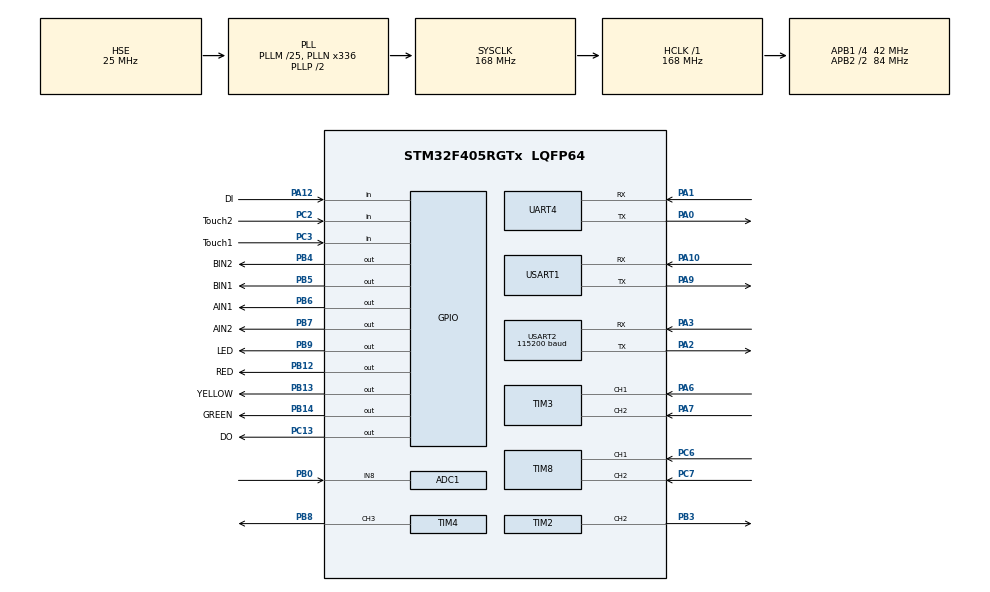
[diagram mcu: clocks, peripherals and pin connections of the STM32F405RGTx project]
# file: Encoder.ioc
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ADC1.Channel-0\#ChannelRegularConversion=ADC_CHANNEL_8
ADC1.ClockPrescaler=ADC_CLOCK_SYNC_PCLK_DIV4
ADC1.ContinuousConvMode=ENABLE
ADC1.DiscontinuousConvMode=DISABLE
ADC1.NbrOfConversionFlag=1
ADC1.Rank-0\#ChannelRegularConversion=1
ADC1.SamplingTime-0\#ChannelRegularConversion=ADC_SAMPLETIME_480CYCLES
ADC1.ScanConvMode=DISABLE
ADC1.master=1
ADC2.Channel-0\#ChannelRegularConversion=ADC_CHANNEL_8
ADC2.NbrOfConversionFlag=1
ADC2.Rank-0\#ChannelRegularConversion=1
ADC2.SamplingTime-0\#ChannelRegularConversion=ADC_SAMPLETIME_480CYCLES
Dma.Request0=USART2_RX
Dma.Request1=UART4_RX
Dma.UART4_RX.1.Direction=DMA_PERIPH_TO_MEMORY
Dma.UART4_RX.1.FIFOMode=DMA_FIFOMODE_DISABLE
Dma.UART4_RX.1.Instance=DMA1_Stream2
Dma.UART4_RX.1.MemDataAlignment=DMA_MDATAALIGN_BYTE
Dma.UART4_RX.1.MemInc=DMA_MINC_ENABLE
Dma.UART4_RX.1.Mode=DMA_CIRCULAR
Dma.UART4_RX.1.PeriphDataAlignment=DMA_PDATAALIGN_BYTE
Dma.UART4_RX.1.PeriphInc=DMA_PINC_DISABLE
Dma.UART4_RX.1.Priority=DMA_PRIORITY_HIGH
Dma.USART2_RX.0.Direction=DMA_PERIPH_TO_MEMORY
Dma.USART2_RX.0.FIFOMode=DMA_FIFOMODE_DISABLE
Dma.USART2_RX.0.Instance=DMA1_Stream5
Dma.USART2_RX.0.MemDataAlignment=DMA_MDATAALIGN_BYTE
Dma.USART2_RX.0.MemInc=DMA_MINC_ENABLE
Dma.USART2_RX.0.Mode=DMA_CIRCULAR
Dma.USART2_RX.0.PeriphDataAlignment=DMA_PDATAALIGN_BYTE
Dma.USART2_RX.0.PeriphInc=DMA_PINC_DISABLE
Dma.USART2_RX.0.Priority=DMA_PRIORITY_HIGH
Mcu.Family=STM32F4
Mcu.Name=STM32F405RGTx
Mcu.Package=LQFP64
NVIC.ADC_IRQn=true\:4\:0\:true\:false\:true\:true\:true
NVIC.DMA1_Stream2_IRQn=true\:0\:0\:false\:false\:true\:false\:true
NVIC.DMA1_Stream5_IRQn=true\:0\:0\:false\:false\:true\:false\:true
NVIC.PriorityGroup=NVIC_PRIORITYGROUP_4
NVIC.TIM1_UP_TIM10_IRQn=true\:5\:0\:true\:false\:true\:true\:true
NVIC.TIM8_UP_TIM13_IRQn=true\:0\:0\:false\:false\:true\:false\:true
NVIC.TimeBase=TIM8_UP_TIM13_IRQn
NVIC.TimeBaseIP=TIM13
NVIC.UART4_IRQn=true\:5\:0\:true\:false\:true\:true\:true
NVIC.USART1_IRQn=true\:6\:0\:true\:false\:true\:true\:true
NVIC.USART2_IRQn=true\:4\:0\:true\:false\:true\:true\:true
PA0-WKUP.Mode=Asynchronous
PA0-WKUP.Signal=UART4_TX
PA1.Mode=Asynchronous
PA1.Signal=UART4_RX
PA10.Mode=Asynchronous
PA10.Signal=USART1_RX
PA12.GPIO_Label=DI
PA12.GPIO_PuPd=GPIO_PULLDOWN
PA12.Signal=GPIO_Input
PA13.Mode=Serial_Wire
PA13.Signal=SYS_JTMS-SWDIO
PA14.Mode=Serial_Wire
PA14.Signal=SYS_JTCK-SWCLK
PA2.Mode=Asynchronous
PA2.Signal=USART2_TX
PA3.Mode=Asynchronous
PA3.Signal=USART2_RX
PA6.GPIO_PuPd=GPIO_PULLUP
PA6.GPIO_Speed=GPIO_SPEED_FREQ_VERY_HIGH
PA6.Signal=S_TIM3_CH1
PA7.GPIO_PuPd=GPIO_PULLUP
PA7.GPIO_Speed=GPIO_SPEED_FREQ_VERY_HIGH
PA7.Signal=S_TIM3_CH2
PA9.Mode=Asynchronous
PA9.Signal=USART1_TX
PB0.Signal=SharedAnalog_PB0
PB12.GPIO_Label=RED
PB12.GPIO_PuPd=GPIO_PULLDOWN
PB12.Signal=GPIO_Output
PB13.GPIO_Label=YELLOW
PB13.GPIO_PuPd=GPIO_PULLDOWN
PB13.Signal=GPIO_Output
PB14.GPIO_Label=GREEN
PB14.GPIO_PuPd=GPIO_PULLDOWN
PB14.Signal=GPIO_Output
PB3.Signal=S_TIM2_CH2
PB4.GPIO_Label=BIN2
PB4.GPIO_PuPd=GPIO_PULLDOWN
PB4.GPIO_Speed=GPIO_SPEED_FREQ_VERY_HIGH
PB4.Signal=GPIO_Output
PB5.GPIO_Label=BIN1
PB5.GPIO_PuPd=GPIO_PULLDOWN
PB5.GPIO_Speed=GPIO_SPEED_FREQ_VERY_HIGH
PB5.PinState=GPIO_PIN_SET
PB5.Signal=GPIO_Output
PB6.GPIO_Label=AIN1
PB6.GPIO_PuPd=GPIO_PULLDOWN
PB6.GPIO_Speed=GPIO_SPEED_FREQ_VERY_HIGH
PB6.PinState=GPIO_PIN_SET
PB6.Signal=GPIO_Output
PB7.GPIO_Label=AIN2
PB7.GPIO_PuPd=GPIO_PULLDOWN
PB7.GPIO_Speed=GPIO_SPEED_FREQ_VERY_HIGH
PB7.Signal=GPIO_Output
PB8.Signal=S_TIM4_CH3
PB9.GPIO_Label=LED
PB9.GPIO_ModeDefaultOutputPP=GPIO_MODE_OUTPUT_PP
PB9.GPIO_PuPd=GPIO_PULLDOWN
PB9.Signal=GPIO_Output
PC13-ANTI_TAMP.GPIO_Label=DO
PC13-ANTI_TAMP.Signal=GPIO_Output
PC2.GPIO_Label=Touch2
PC2.GPIO_PuPd=GPIO_PULLDOWN
PC2.Signal=GPIO_Input
PC3.GPIO_Label=Touch1
PC3.GPIO_PuPd=GPIO_PULLDOWN
PC3.Signal=GPIO_Input
PC6.GPIO_PuPd=GPIO_PULLUP
PC6.GPIO_Speed=GPIO_SPEED_FREQ_VERY_HIGH
PC6.Signal=S_TIM8_CH1
PC7.GPIO_PuPd=GPIO_PULLUP
PC7.GPIO_Speed=GPIO_SPEED_FREQ_VERY_HIGH
PC7.Signal=S_TIM8_CH2
PH0-OSC_IN.Mode=HSE-External-Oscillator
PH0-OSC_IN.Signal=RCC_OSC_IN
PH1-OSC_OUT.Mode=HSE-External-Oscillator
PH1-OSC_OUT.Signal=RCC_OSC_OUT
ProjectManager.HeapSize=0x200
ProjectManager.StackSize=0x400
ProjectManager.TargetToolchain=MDK-ARM V5.27
RCC.48MHZClocksFreq_Value=84000000
RCC.AHBFreq_Value=168000000
RCC.APB1CLKDivider=RCC_HCLK_DIV4
RCC.APB1Freq_Value=42000000
RCC.APB1TimFreq_Value=84000000
RCC.APB2CLKDivider=RCC_HCLK_DIV2
RCC.APB2Freq_Value=84000000
RCC.APB2TimFreq_Value=168000000
RCC.CortexFreq_Value=168000000
RCC.HCLKFreq_Value=168000000
RCC.HSE_VALUE=25000000
RCC.HSI_VALUE=16000000
RCC.LSE_VALUE=32768
RCC.PLLM=25
RCC.PLLN=336
RCC.PLLSourceVirtual=RCC_PLLSOURCE_HSE
RCC.SYSCLKFreq_VALUE=168000000
RCC.SYSCLKSource=RCC_SYSCLKSOURCE_PLLCLK
RCC.VCOOutputFreq_Value=336000000
SH.S_TIM2_CH2.0=TIM2_CH2,PWM Generation2 CH2
SH.S_TIM3_CH1.0=TIM3_CH1,Encoder_Interface
SH.S_TIM3_CH2.0=TIM3_CH2,Encoder_Interface
SH.S_TIM4_CH3.0=TIM4_CH3,PWM Generation3 CH3
SH.S_TIM8_CH1.0=TIM8_CH1,Encoder_Interface
SH.S_TIM8_CH2.0=TIM8_CH2,Encoder_Interface
SH.SharedAnalog_PB0.0=GPIO_Analog
SH.SharedAnalog_PB0.1=ADC1_IN8,IN8
SH.SharedAnalog_PB0.2=ADC2_IN8,IN8
TIM1.AutoReloadPreload=TIM_AUTORELOAD_PRELOAD_ENABLE
TIM1.Period=500-1
TIM1.Prescaler=8400-1
TIM2.AutoReloadPreload=TIM_AUTORELOAD_PRELOAD_ENABLE
TIM2.Channel-PWM\ Generation2\ CH2=TIM_CHANNEL_2
TIM2.Period=8399
TIM2.Prescaler=0
TIM3.EncoderMode=TIM_ENCODERMODE_TI12
TIM3.IC1Filter=6
TIM3.IC1Prescaler=TIM_ICPSC_DIV8
TIM3.IC2Filter=6
TIM3.IC2Prescaler=TIM_ICPSC_DIV8
TIM4.AutoReloadPreload=TIM_AUTORELOAD_PRELOAD_ENABLE
TIM4.Channel-PWM\ Generation3\ CH3=TIM_CHANNEL_3
TIM4.Period=8399
TIM4.Prescaler=0
TIM8.ClockDivision=TIM_CLOCKDIVISION_DIV1
TIM8.EncoderMode=TIM_ENCODERMODE_TI12
TIM8.IC1Filter=6
TIM8.IC1Prescaler=TIM_ICPSC_DIV8
TIM8.IC2Filter=6
TIM8.IC2Prescaler=TIM_ICPSC_DIV8
UART4.VirtualMode=Asynchronous
USART1.VirtualMode=VM_ASYNC
USART2.BaudRate=115200
USART2.Parity=PARITY_NONE
USART2.VirtualMode=VM_ASYNC
USART2.WordLength=WORDLENGTH_8B
VP_SYS_VS_tim13.Mode=TIM13
VP_TIM1_VS_ClockSourceINT.Mode=Internal
VP_TIM2_VS_ClockSourceINT.Mode=Internal
VP_TIM4_VS_ClockSourceINT.Mode=Internal
board=custom

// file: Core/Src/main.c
/* USER CODE BEGIN Header */
/**
  ******************************************************************************
  * @file           : main.c
  * @brief          : Main program body
  ******************************************************************************
  * @attention
  *
  * <h2><center>&copy; Copyright (c) 2021 STMicroelectronics.
  * All rights reserved.</center></h2>
  *
  * This software component is licensed by ST under BSD 3-Clause license,
  * the "License"; You may not use this file except in compliance with the
  * License. You may obtain a copy of the License at:
  *                        opensource.org/licenses/BSD-3-Clause
  *
  ******************************************************************************
  */
/* USER CODE END Header */
#include "main.h"
#include "adc.h"
#include "dma.h"
#include "tim.h"
#include "usart.h"
#include "gpio.h"

/* USER CODE BEGIN Includes */
#include "LED.h"
#include "packet.h"
#include "imu_data_decode.h"
/* USER CODE END Includes */

void SystemClock_Config(void);

int main(void)
{

  /* MCU Configuration--------------------------------------------------------*/

  /* Reset of all peripherals, Initializes the Flash interface and the Systick. */
  HAL_Init();

  /* Configure the system clock */
  SystemClock_Config();

  /* USER CODE BEGIN SysInit */
  HAL_Delay(2000);
  /* USER CODE END SysInit */

  /* Initialize all configured peripherals */
  MX_GPIO_Init();
  MX_DMA_Init();
  MX_TIM1_Init();
  MX_TIM3_Init();
  MX_TIM8_Init();
  MX_USART1_UART_Init();
  MX_TIM2_Init();
  MX_TIM4_Init();
  MX_ADC1_Init();
  MX_ADC2_Init();
  MX_USART2_UART_Init();
  MX_UART4_Init();
  /* USER CODE BEGIN 2 */
  HAL_TIM_Encoder_Start(&htim3,TIM_CHANNEL_ALL);
  HAL_TIM_Encoder_Start(&htim8,TIM_CHANNEL_ALL);
  user_UART_Init();-
  imu_data_decode_init();
  User_Balance_Init();
  HAL_TIM_Base_Start_IT(&htim1);
  HAL_ADC_Start_IT(&hadc1);
  HAL_TIM_PWM_Start(&htim2,TIM_CHANNEL_2);
  HAL_TIM_PWM_Start(&htim4,TIM_CHANNEL_3);
  /* USER CODE END 2 */

  /* Infinite loop */
  while (1)
  {

    /* USER CODE BEGIN 3 */

    HAL_GPIO_TogglePin(LED_GPIO_Port,LED_Pin);
    HAL_Delay(50);
  }
  /* USER CODE END 3 */
}

void SystemClock_Config(void)
{
  RCC_OscInitTypeDef RCC_OscInitStruct = {0};
  RCC_ClkInitTypeDef RCC_ClkInitStruct = {0};

  /** Configure the main internal regulator output voltage
  */
  __HAL_RCC_PWR_CLK_ENABLE();
  __HAL_PWR_VOLTAGESCALING_CONFIG(PWR_REGULATOR_VOLTAGE_SCALE1);
  /** Initializes the RCC Oscillators according to the specified parameters
  * in the RCC_OscInitTypeDef structure.
  */
  RCC_OscInitStruct.OscillatorType = RCC_OSCILLATORTYPE_HSE;
  RCC_OscInitStruct.HSEState = RCC_HSE_ON;
  RCC_OscInitStruct.PLL.PLLState = RCC_PLL_ON;
  RCC_OscInitStruct.PLL.PLLSource = RCC_PLLSOURCE_HSE;
  RCC_OscInitStruct.PLL.PLLM = 25;
  RCC_OscInitStruct.PLL.PLLN = 336;
  RCC_OscInitStruct.PLL.PLLP = RCC_PLLP_DIV2;
  RCC_OscInitStruct.PLL.PLLQ = 4;
  if (HAL_RCC_OscConfig(&RCC_OscInitStruct) != HAL_OK)
  {
    Error_Handler();
  }
  /** Initializes the CPU, AHB and APB buses clocks
  */
  RCC_ClkInitStruct.ClockType = RCC_CLOCKTYPE_HCLK|RCC_CLOCKTYPE_SYSCLK
                              |RCC_CLOCKTYPE_PCLK1|RCC_CLOCKTYPE_PCLK2;
  RCC_ClkInitStruct.SYSCLKSource = RCC_SYSCLKSOURCE_PLLCLK;
  RCC_ClkInitStruct.AHBCLKDivider = RCC_SYSCLK_DIV1;
  RCC_ClkInitStruct.APB1CLKDivider = RCC_HCLK_DIV4;
  RCC_ClkInitStruct.APB2CLKDivider = RCC_HCLK_DIV2;

  if (HAL_RCC_ClockConfig(&RCC_ClkInitStruct, FLASH_LATENCY_5) != HAL_OK)
  {
    Error_Handler();
  }
}

 /**
  * @brief  Period elapsed callback in non blocking mode
  * @note   This function is called  when TIM13 interrupt took place, inside
  * HAL_TIM_IRQHandler(). It makes a direct call to HAL_IncTick() to increment
  * a global variable "uwTick" used as application time base.
  * @param  htim : TIM handle
  * @retval None
  */
void HAL_TIM_PeriodElapsedCallback(TIM_HandleTypeDef *htim)
{
  if (htim->Instance == TIM13) {
    HAL_IncTick();
  }
  /* USER CODE BEGIN Callback 1 */
  User_Tim_Interuput_Callback(htim);
  /* USER CODE END Callback 1 */
}

void Error_Handler(void)
{
  __disable_irq();
  while (1)
  {
  }
}

/************************ (C) COPYRIGHT STMicroelectronics *****END OF FILE****/
